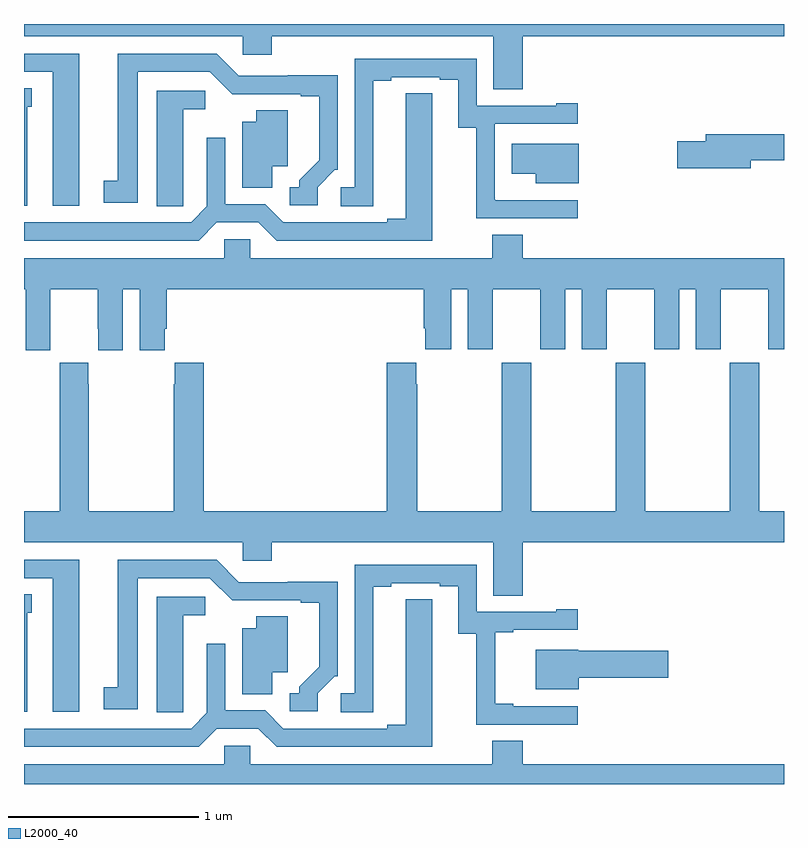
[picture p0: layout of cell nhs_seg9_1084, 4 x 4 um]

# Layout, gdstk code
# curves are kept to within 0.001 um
import gdstk
lib = gdstk.Library(unit=1e-6, precision=1e-09)
def P(c, l, *ps):  # polygons
    for p in ps: c.add(gdstk.Polygon(p, *l))
L2000_40 = (2000, 40)

nhs_seg9_1084 = lib.new_cell('nhs_seg9_1084')
P(nhs_seg9_1084, L2000_40, [(173.624,1180.436),(175,1180.436),(175,1180.5),(171,1180.5),(171,1180.436),(172.152,1180.436),(172.152,1180.338),(172.304,1180.338),(172.304,1180.436),(173.471,1180.436),(173.471,1180.156),(173.624,1180.156)],
  [(172.545,1179.642),(172.635,1179.732),(172.65,1179.732),(172.65,1180.229),(172.387,1180.229),(172.387,1180.227),(172.131,1180.227),(172.014,1180.344),(171.494,1180.344),(171.494,1179.674),(171.42,1179.674),(171.42,1179.558),(171.598,1179.558),(171.598,1180.248),(171.978,1180.248),(172.096,1180.13),(172.457,1180.131),(172.457,1180.119),(172.553,1180.119),(172.553,1179.782),(172.448,1179.677),(172.448,1179.642),(172.398,1179.642),(172.398,1179.546),(172.545,1179.546)],
  [(171.292,1180.344),(171,1180.344),(171,1180.248),(171.152,1180.248),(171.152,1179.543),(171.292,1179.543)],
  [(173.914,1179.573),(173.48,1179.573),(173.48,1179.574),(173.478,1179.574),(173.478,1179.975),(173.914,1179.975),(173.914,1180.084),(173.801,1180.084),(173.801,1180.071),(173.382,1180.071),(173.382,1180.317),(172.74,1180.317),(172.74,1179.642),(172.668,1179.642),(172.668,1179.541),(172.837,1179.541),(172.837,1180.201),(172.933,1180.201),(172.933,1180.221),(173.189,1180.221),(173.189,1180.206),(173.285,1180.206),(173.285,1179.955),(173.38,1179.955),(173.38,1179.477),(173.914,1179.477)],
  [(171.016,1180.065),(171.04,1180.065),(171.04,1180.163),(171,1180.163),(171,1179.543),(171.016,1179.543)],
  [(171.837,1179.649),(171.838,1179.649),(171.838,1180.052),(171.955,1180.052),(171.955,1180.149),(171.698,1180.149),(171.698,1179.541),(171.837,1179.541)],
  [(172.015,1179.456),(172.233,1179.456),(172.329,1179.36),(173.149,1179.36),(173.148,1180.136),(173.009,1180.136),(173.009,1179.476),(172.913,1179.476),(172.913,1179.456),(172.365,1179.456),(172.269,1179.552),(172.059,1179.552),(172.059,1179.901),(171.963,1179.901),(171.963,1179.54),(171.879,1179.456),(171,1179.456),(171,1179.36),(171.919,1179.36)],
  [(172.306,1179.752),(172.387,1179.752),(172.387,1180.046),(172.223,1180.046),(172.223,1179.985),(172.148,1179.985),(172.148,1179.637),(172.306,1179.637)],
  [(174.826,1179.784),(175,1179.784),(175,1179.92),(174.587,1179.92),(174.587,1179.884),(174.438,1179.884),(174.438,1179.742),(174.826,1179.742)],
  [(173.92,1179.871),(173.568,1179.871),(173.568,1179.713),(173.693,1179.713),(173.693,1179.662),(173.92,1179.662)],
  [(171.138,1178.896),(171.139,1178.896),(171.139,1179.104),(171.389,1179.104),(171.389,1178.896),(171.39,1178.896),(171.39,1178.784),(171.52,1178.784),(171.52,1179.104),(171.608,1179.104),(171.608,1178.784),(171.742,1178.784),(171.742,1178.896),(171.752,1178.896),(171.752,1179.104),(173.105,1179.104),(173.105,1178.899),(173.111,1178.899),(173.111,1178.787),(173.248,1178.787),(173.248,1179.104),(173.336,1179.104),(173.336,1178.787),(173.467,1178.787),(173.467,1179.104),(173.717,1179.104),(173.717,1178.787),(173.848,1178.787),(173.848,1179.104),(173.936,1179.104),(173.936,1178.787),(174.067,1178.787),(174.067,1179.104),(174.317,1179.104),(174.317,1178.787),(174.448,1178.787),(174.448,1179.104),(174.536,1179.104),(174.536,1178.787),(174.667,1178.787),(174.667,1179.104),(174.917,1179.104),(174.917,1178.787),(175,1178.787),(175,1179.268),(173.624,1179.268),(173.624,1179.392),(173.464,1179.392),(173.464,1179.268),(172.191,1179.268),(172.191,1179.366),(172.053,1179.366),(172.053,1179.268),(171,1179.268),(171,1179.104),(171.008,1179.104),(171.008,1178.784),(171.138,1178.784)],
  [(173.624,1177.772),(175,1177.772),(175,1177.936),(174.87,1177.936),(174.87,1178.716),(174.715,1178.716),(174.715,1177.936),(174.27,1177.936),(174.27,1178.716),(174.115,1178.716),(174.115,1177.936),(173.67,1177.936),(173.67,1178.716),(173.515,1178.716),(173.515,1177.936),(173.07,1177.936),(173.07,1178.603),(173.065,1178.603),(173.065,1178.716),(172.91,1178.716),(172.91,1177.936),(171.947,1177.936),(171.947,1178.716),(171.793,1178.716),(171.793,1178.603),(171.787,1178.603),(171.787,1177.936),(171.342,1177.936),(171.342,1178.603),(171.339,1178.603),(171.339,1178.716),(171.189,1178.716),(171.189,1178.603),(171.187,1178.603),(171.187,1177.936),(171,1177.936),(171,1177.772),(172.152,1177.772),(172.152,1177.674),(172.304,1177.674),(172.304,1177.772),(173.471,1177.772),(173.471,1177.492),(173.624,1177.492)],
  [(171.292,1177.68),(171,1177.68),(171,1177.584),(171.152,1177.584),(171.152,1176.879),(171.292,1176.879)],
  [(172.545,1176.978),(172.635,1177.068),(172.65,1177.068),(172.65,1177.565),(172.387,1177.565),(172.387,1177.563),(172.131,1177.563),(172.014,1177.68),(171.494,1177.68),(171.494,1177.01),(171.42,1177.01),(171.42,1176.894),(171.598,1176.894),(171.598,1177.584),(171.978,1177.584),(172.096,1177.466),(172.457,1177.467),(172.457,1177.455),(172.553,1177.455),(172.553,1177.118),(172.448,1177.013),(172.448,1176.978),(172.398,1176.978),(172.398,1176.882),(172.545,1176.882)],
  [(173.914,1176.909),(173.575,1176.909),(173.575,1176.922),(173.48,1176.922),(173.48,1177.299),(173.575,1177.299),(173.575,1177.311),(173.914,1177.311),(173.914,1177.42),(173.801,1177.42),(173.801,1177.407),(173.382,1177.407),(173.382,1177.653),(172.74,1177.653),(172.74,1176.978),(172.668,1176.978),(172.668,1176.877),(172.837,1176.877),(172.837,1177.537),(172.933,1177.537),(172.933,1177.557),(173.189,1177.557),(173.189,1177.542),(173.285,1177.542),(173.285,1177.291),(173.38,1177.291),(173.38,1176.813),(173.914,1176.813)],
  [(171.016,1177.401),(171.04,1177.401),(171.04,1177.499),(171,1177.499),(171,1176.879),(171.016,1176.879)],
  [(171.837,1176.985),(171.838,1176.985),(171.838,1177.388),(171.955,1177.388),(171.955,1177.485),(171.698,1177.485),(171.698,1176.877),(171.837,1176.877)],
  [(172.015,1176.792),(172.233,1176.792),(172.329,1176.696),(173.149,1176.696),(173.148,1177.472),(173.009,1177.472),(173.009,1176.812),(172.913,1176.812),(172.913,1176.792),(172.365,1176.792),(172.269,1176.888),(172.059,1176.888),(172.059,1177.237),(171.963,1177.237),(171.963,1176.876),(171.879,1176.792),(171,1176.792),(171,1176.696),(171.919,1176.696)],
  [(172.306,1177.088),(172.387,1177.088),(172.387,1177.382),(172.223,1177.382),(172.223,1177.321),(172.148,1177.321),(172.148,1176.973),(172.306,1176.973)],
  [(173.92,1177.06),(174.391,1177.06),(174.391,1177.202),(173.916,1177.202),(173.916,1177.207),(173.693,1177.207),(173.693,1176.998),(173.92,1176.998)],
  [(175,1176.604),(173.624,1176.604),(173.624,1176.728),(173.464,1176.728),(173.464,1176.604),(172.191,1176.604),(172.191,1176.702),(172.053,1176.702),(172.053,1176.604),(171,1176.604),(171,1176.5),(175,1176.5)])

lib.write_gds('nhs_seg9_1084.gds')
